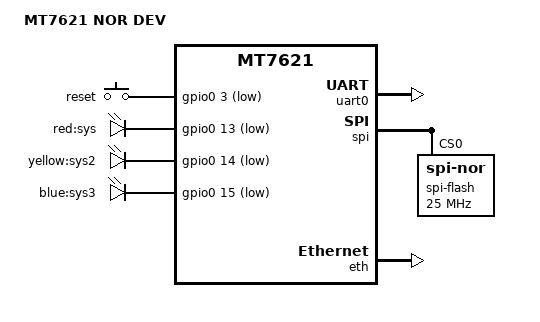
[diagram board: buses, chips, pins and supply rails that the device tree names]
// SPDX-License-Identifier: GPL-2.0

/dts-v1/;

#include "mt7621.dtsi"
#include <dt-bindings/gpio/gpio.h>
#include <dt-bindings/input/input.h>

/ {
	compatible = "mediatek,mt7621-nor-dev", "mediatek,mt7621-soc";
	model = "MT7621 NOR DEV";

	aliases {
		serial0 = &uart0;
		spi0 = &spi;
	};

	chosen {
		stdout-path = &uart0;
	};

	config {
		blink_led = "red:sys";
        system_led = "blue:sys2";
	};

	gpio-keys {
		compatible = "gpio-keys";

		reset {
			label = "reset";
			gpios = <&gpio0 3 GPIO_ACTIVE_LOW>;
			linux,code = <KEY_RESTART>;
		};
	};

	leds {
		compatible = "gpio-leds";

		sysled {
			label = "red:sys";
			gpios = <&gpio0 13 GPIO_ACTIVE_LOW>;
		};

		sysled2 {
			label = "yellow:sys2";
			gpios = <&gpio0 14 GPIO_ACTIVE_LOW>;
		};

		sysled3 {
			label = "blue:sys3";
			gpios = <&gpio0 15 GPIO_ACTIVE_LOW>;
		};
	};
};

&pinctrl {
	state_default: pin_state {
		gpios {
			groups = "i2c", "uart3", "pcie reset";
			function = "gpio";
		};

		wdt {
			groups = "wdt";
			function = "wdt rst";
		};

		jtag {
			groups = "jtag";
			function = "jtag";
		};
	};
};

&uart0 {
	status = "okay";
};

&gpio {
	status = "okay";
};

&spi {
	status = "okay";
	num-cs = <2>;

	spi-flash@0 {
		#address-cells = <1>;
		#size-cells = <1>;
		compatible = "jedec,spi-nor";
		spi-max-frequency = <25000000>;
		reg = <0>;
	};
};

&eth {
	status = "okay";
};

&mmc {
	cap-sd-highspeed;

	status = "disabled";
};

&ssusb {
	status = "disabled";
};

&u3phy {
	status = "disabled";
};
